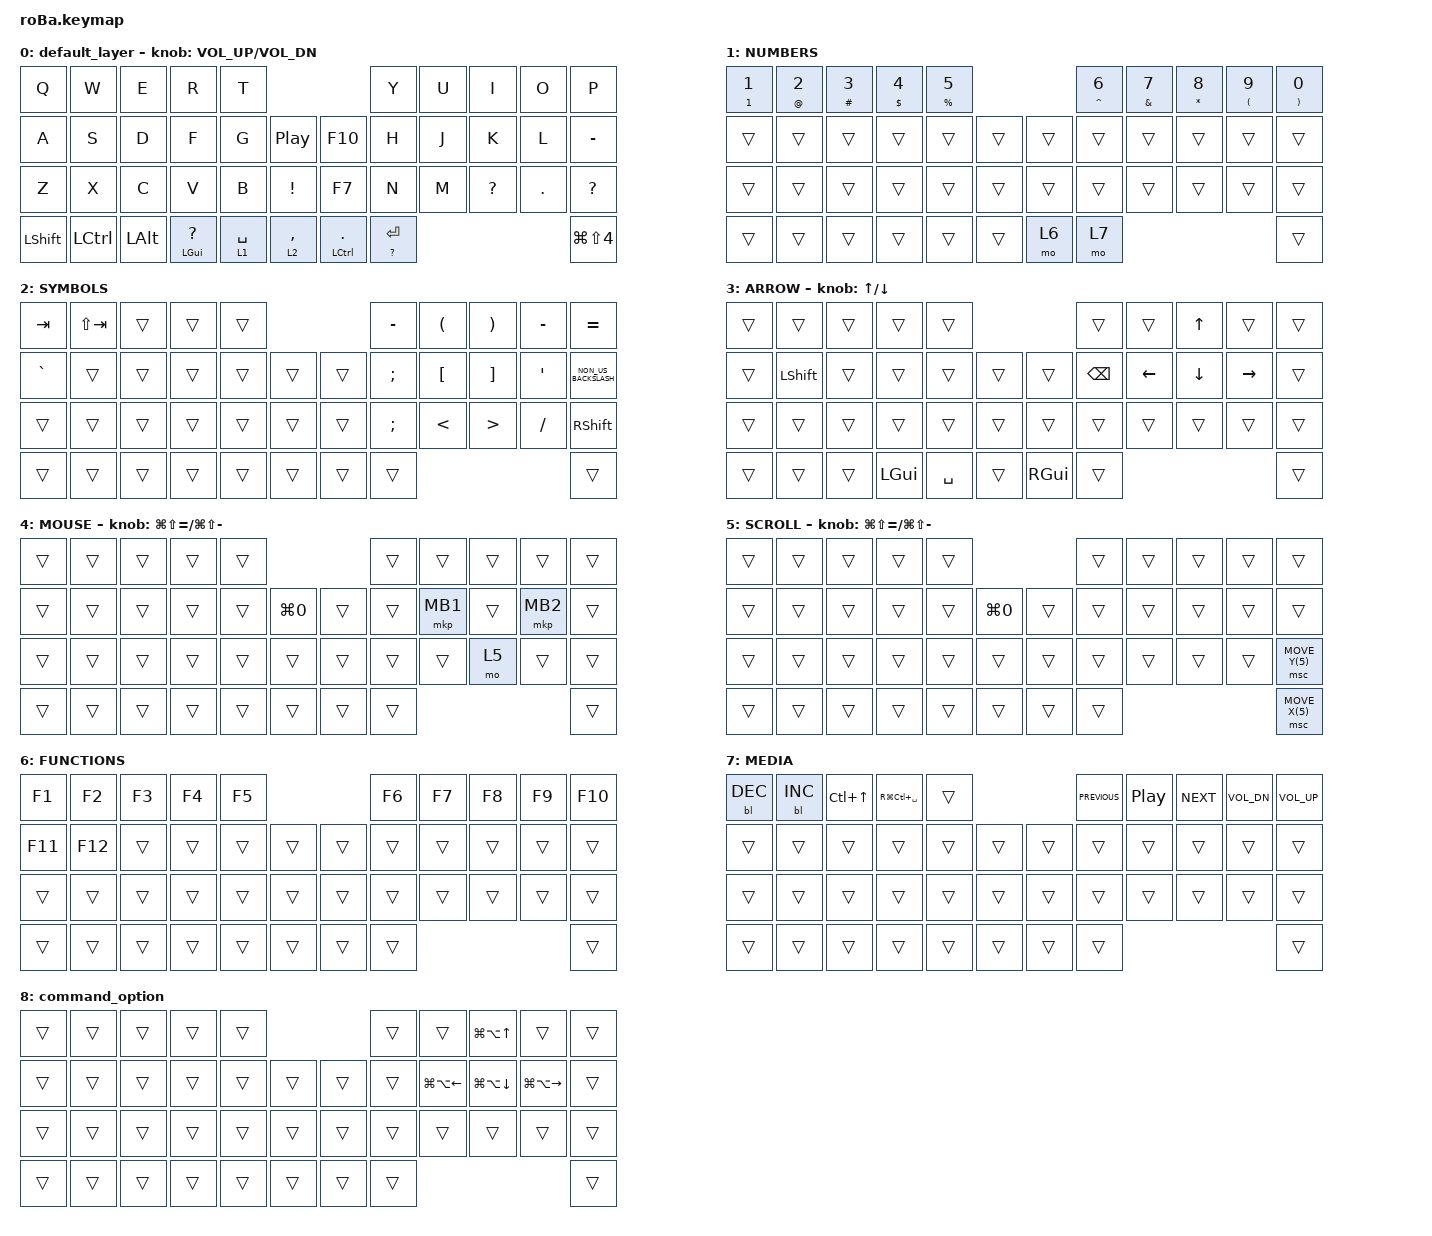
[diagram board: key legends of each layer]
#include <behaviors.dtsi>
#include <dt-bindings/zmk/backlight.h>
#include <dt-bindings/zmk/keys.h>
#include <dt-bindings/zmk/pointing.h>

&mt {
    flavor = "balanced";
    quick-tap-ms = <0>;
};

&trackball {
    automouse-layer = <4>;
    scroll-layers = <5>;

    // arrows {
    //     layers = <3>;
    //     bindings =
    //         <&kp RIGHT_ARROW>,
    //         <&kp LEFT_ARROW>,
    //         <&kp UP_ARROW>,
    //         <&kp DOWN_ARROW>;
    //     tick = <10>;
    //     wait-ms = <5>;
    //     tap-ms = <5>;
    // };
};

/ {
    combos {
        compatible = "zmk,combos";

        tab {
            bindings = <&kp TAB>;
            key-positions = <11 12>;
        };

        shift_tab {
            bindings = <&kp LS(TAB)>;
            key-positions = <12 13>;
        };

        escape {
            bindings = <&kp ESCAPE>;
            key-positions = <0 1>;
            layers = <0>;
        };

        backspace {
            bindings = <&kp BACKSPACE>;
            key-positions = <8 9>;
        };

        p_tab {
            bindings = <&kp LS(LG(LEFT_BRACKET))>;
            key-positions = <18 19>;
        };

        n_tab {
            bindings = <&kp LS(LG(RIGHT_BRACKET))>;
            key-positions = <19 20>;
        };

        mission_control {
            bindings = <&kp LC(UP_ARROW)>;
            key-positions = <18 20>;
        };

        mission_left {
            bindings = <&kp LC(LEFT_ARROW)>;
            key-positions = <17 18>;
        };

        mission_r {
            bindings = <&kp LC(RIGHT_ARROW)>;
            key-positions = <20 21>;
        };

        command-option_left {
            bindings = <&mo 8>;
            key-positions = <38 39>;
        };

        command_option_right {
            bindings = <&mo 8>;
            key-positions = <40 41>;
        };

        launchpad {
            bindings = <&kp LA(LC(LG(B)))>;
            key-positions = <30 32>;
        };

        spotlight {
            bindings = <&kp LC(RG(SPACE))>;
            key-positions = <30 19>;
        };

        lan_switch {
            bindings = <&kp LG(SPACE)>;
            key-positions = <38 41>;
        };
    };

    macros {
        to_layer_0: to_layer_0 {
            compatible = "zmk,behavior-macro-one-param";
            #binding-cells = <1>;
            bindings = <&to 0 &macro_param_1to1 &kp MACRO_PLACEHOLDER>;
            label = "TO_LAYER_0";
        };
    };

    behaviors {
        lt_to_layer_0: lt_to_layer_0 {
            compatible = "zmk,behavior-hold-tap";
            label = "LAYER_TAP_TO_0";
            bindings = <&mo>, <&to_layer_0>;

            #binding-cells = <2>;
            tapping-term-ms = <200>;
        };
    };

    keymap {
        compatible = "zmk,keymap";

        default_layer {
            bindings = <
&kp Q           &kp W      &kp E         &kp R                  &kp T                                                &kp Y                &kp U  &kp I         &kp O    &kp P
&kp A           &kp S      &kp D         &kp F                  &kp G        &kp C_PLAY_PAUSE      &kp F10           &kp H                &kp J  &kp K         &kp L    &kp MINUS
&kp Z           &kp X      &kp C         &kp V                  &kp B        &kp EXCLAMATION       &kp F7            &kp N                &kp M  &kp QUESTION  &kp DOT  &kp QUESTION
&kp LEFT_SHIFT  &kp LCTRL  &kp LEFT_ALT  &mt LEFT_GUI QUESTION  &lt 1 SPACE  &lt 2 COMMA           &mt LCTRL PERIOD  &mt QUESTION RETURN                                &kp LG(LS(NUMBER_4))
            >;

            sensor-bindings = <&inc_dec_kp C_VOL_UP C_VOL_DN>;
        };

        NUMBERS {
            bindings = <
&mt NUMBER_1 NUMBER_1  &mt AT_SIGN NUMBER_2  &mt HASH NUMBER_3  &mt DOLLAR NUMBER_4  &mt PERCENT NUMBER_5                      &mt CARET NUMBER_6  &mt AMPERSAND NUMBER_7  &mt ASTERISK NUMBER_8  &mt LEFT_PARENTHESIS NUMBER_9  &mt RIGHT_PARENTHESIS NUMBER_0
&trans                 &trans                &trans             &trans               &trans                &trans      &trans  &trans              &trans                  &trans                 &trans                         &trans
&trans                 &trans                &trans             &trans               &trans                &trans      &trans  &trans              &trans                  &trans                 &trans                         &trans
&trans                 &trans                &trans             &trans               &trans                &trans      &mo 6   &mo 7                                                                                             &trans
            >;
        };

        SYMBOLS {
            bindings = <
&kp TAB    &kp LS(TAB)  &trans  &trans  &trans                      &kp MINUS      &kp LEFT_PARENTHESIS  &kp RIGHT_PARENTHESIS  &kp MINUS  &kp EQUAL
&kp GRAVE  &trans       &trans  &trans  &trans  &trans      &trans  &kp SEMICOLON  &kp LEFT_BRACKET      &kp RIGHT_BRACKET      &kp SQT    &kp NON_US_BACKSLASH
&trans     &trans       &trans  &trans  &trans  &trans      &trans  &kp SEMICOLON  &kp LESS_THAN         &kp GREATER_THAN       &kp SLASH  &kp RIGHT_SHIFT
&trans     &trans       &trans  &trans  &trans  &trans      &trans  &trans                                                                 &trans
            >;
        };

        ARROW {
            bindings = <
&trans  &trans          &trans  &trans        &trans                                &trans         &trans          &kp UP_ARROW    &trans           &trans
&trans  &kp LEFT_SHIFT  &trans  &trans        &trans     &trans      &trans         &kp BACKSPACE  &kp LEFT_ARROW  &kp DOWN_ARROW  &kp RIGHT_ARROW  &trans
&trans  &trans          &trans  &trans        &trans     &trans      &trans         &trans         &trans          &trans          &trans           &trans
&trans  &trans          &trans  &kp LEFT_GUI  &kp SPACE  &trans      &kp RIGHT_GUI  &trans                                                          &trans
            >;

            sensor-bindings = <&inc_dec_kp UP_ARROW DOWN_ARROW>;
        };

        MOUSE {
            bindings = <
&trans  &trans  &trans  &trans  &trans                                &trans  &trans    &trans  &trans    &trans
&trans  &trans  &trans  &trans  &trans  &kp LG(NUMBER_0)      &trans  &trans  &mkp MB1  &trans  &mkp MB2  &trans
&trans  &trans  &trans  &trans  &trans  &trans                &trans  &trans  &trans    &mo 5   &trans    &trans
&trans  &trans  &trans  &trans  &trans  &trans                &trans  &trans                              &trans
            >;

            sensor-bindings = <&inc_dec_kp LG(LS(EQUAL)) LG(LS(MINUS))>;
        };

        SCROLL {
            bindings = <
&trans  &trans  &trans  &trans  &trans                                &trans  &trans  &trans  &trans  &trans
&trans  &trans  &trans  &trans  &trans  &kp LG(NUMBER_0)      &trans  &trans  &trans  &trans  &trans  &trans
&trans  &trans  &trans  &trans  &trans  &trans                &trans  &trans  &trans  &trans  &trans  &msc MOVE_Y(5)
&trans  &trans  &trans  &trans  &trans  &trans                &trans  &trans                          &msc MOVE_X(5)
            >;

            sensor-bindings = <&inc_dec_kp LG(LS(EQUAL)) LG(LS(MINUS))>;
        };

        FUNCTIONS {
            bindings = <
&kp F1   &kp F2   &kp F3  &kp F4  &kp F5                      &kp F6  &kp F7  &kp F8  &kp F9  &kp F10
&kp F11  &kp F12  &trans  &trans  &trans  &trans      &trans  &trans  &trans  &trans  &trans  &trans
&trans   &trans   &trans  &trans  &trans  &trans      &trans  &trans  &trans  &trans  &trans  &trans
&trans   &trans   &trans  &trans  &trans  &trans      &trans  &trans                          &trans
            >;
        };

        MEDIA {
            bindings = <
&bl BL_DEC  &bl BL_INC  &kp LC(UP_ARROW)  &kp RG(LC(SPACE))  &trans                      &kp C_PREVIOUS  &kp C_PLAY_PAUSE  &kp C_NEXT  &kp C_VOL_DN  &kp C_VOL_UP
&trans      &trans      &trans            &trans             &trans  &trans      &trans  &trans          &trans            &trans      &trans        &trans
&trans      &trans      &trans            &trans             &trans  &trans      &trans  &trans          &trans            &trans      &trans        &trans
&trans      &trans      &trans            &trans             &trans  &trans      &trans  &trans                                                      &trans
            >;
        };

        command_option {
            bindings = <
&trans  &trans  &trans  &trans  &trans                      &trans  &trans                  &kp LG(LA(UP_ARROW))    &trans                   &trans
&trans  &trans  &trans  &trans  &trans  &trans      &trans  &trans  &kp LG(LA(LEFT_ARROW))  &kp LG(LA(DOWN_ARROW))  &kp LG(LA(RIGHT_ARROW))  &trans
&trans  &trans  &trans  &trans  &trans  &trans      &trans  &trans  &trans                  &trans                  &trans                   &trans
&trans  &trans  &trans  &trans  &trans  &trans      &trans  &trans                                                                           &trans
            >;
        };
    };

    conditional_layers { compatible = "zmk,conditional-layers"; };
};
